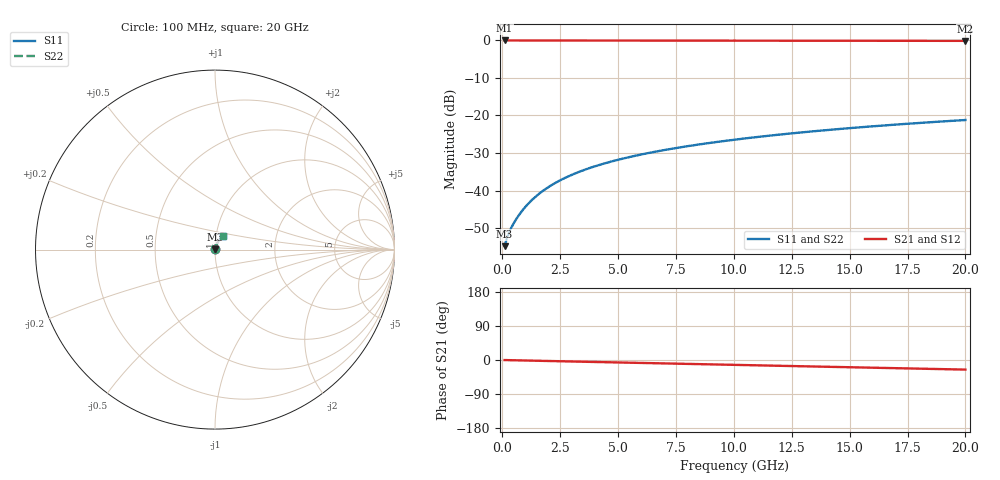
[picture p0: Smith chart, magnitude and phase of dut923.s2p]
! Touchstone file exported from HFSS 2026.1.0
!  File:  C:/ffzhzh/LocalFiles/Ansys_Project_Files/temp_train_BSMRDL_923_1783171771_51560.aedt
!  Generated:  09:30:41 PM Jul  4, 2026
!  Design:  BSMRDL
!  Project:  temp_train_BSMRDL_923_1783171771_51560
! Variables:
!  h_bsmrdl = 4.62um
!  h_ox = 20um
!  h_rdl = 5um
!  h_sub = 80um
!  h_tmrdl = 5um
!  h_tsv = 80um
!  h_via = 3um
!  l_bsmrdl = 432.43um
!  l_sub = 832.43um
!  l_tmrdl = 200um
!  m_sub = 200um
!  pitch = 32.12um
!  r_tsv = 6um
!  s_tmrdl = 10um
!  w_bsmrdl = 23.78um
!  w_sub = 500um
!  w_tmrdl = 12um
!  x_tsv_center1 = 206um
!  x_tsv_center2 = 662.21um
!  x_tsv_center3 = 874.21um
!  x_tsv_center4 = 1330.42um
!  x_tsv_center5 = 1542.42um
!  x_tsv_center6 = 1998.63um
# GHz S MA R 50.000000
! Terminal data exported
! Port[1] = BSM_RDL1_1_T1
! Port[2] = BSM_RDL1_1_T2
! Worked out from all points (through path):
!   200 points, 100 MHz to 20 GHz, reference 50 ohm
!   highest |S21| = -0.01 dB at 100 MHz (marker M1); lowest = -0.1 dB at 20 GHz (marker M2)
!   group delay of S21, straight-line fit = 3.5 ps
!   lowest |S11| = -54.8 dB at 100 MHz (marker M3), VSWR 1.00, Z = 50.2 + j0.0806 ohm
!   |S11| at or under -10 dB: start of sweep to end of sweep
!   |S22| runs from -54.8 to -21.2 dB; largest |S21 - S12| = 2e-15
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0.1  0.001817 26.3  0.9984 -0.1  0.9984 -0.1  0.001817 26.3
! Gamma 0 0 0 0
! Port Impedance 50 0 50 0
0.2  0.002333 38.2  0.9982 -0.3  0.9982 -0.3  0.002332 38.2
0.3  0.00281 44.8  0.998 -0.4  0.998 -0.4  0.002809 44.8
0.4  0.003257 49.7  0.9979 -0.6  0.9979 -0.6  0.003255 49.7
0.5  0.003702 53.8  0.9978 -0.7  0.9978 -0.7  0.0037 53.8
0.7  0.004621 59.9  0.9977 -0.9  0.9977 -0.9  0.00462 59.9
0.9  0.005584 64.1  0.9976 -1.2  0.9976 -1.2  0.005583 64.1
1.1  0.006577 67.0  0.9975 -1.5  0.9975 -1.5  0.006577 67.1
1.3  0.007588 69.1  0.9974 -1.7  0.9974 -1.7  0.007588 69.1
1.7  0.009631 71.6  0.9972 -2.2  0.9972 -2.2  0.009631 71.6
2.2  0.01218 73.1  0.9969 -2.9  0.9969 -2.9  0.01218 73.1
2.8  0.0152 73.7  0.9966 -3.7  0.9966 -3.7  0.0152 73.8
3.5  0.01864 73.8  0.9961 -4.6  0.9961 -4.6  0.01864 73.8
4.2  0.02198 73.5  0.9956 -5.5  0.9956 -5.5  0.02198 73.5
5  0.02571 72.9  0.995 -6.5  0.995 -6.5  0.02571 72.9
5.9  0.02979 72.2  0.9943 -7.7  0.9943 -7.7  0.02979 72.2
6.8  0.03379 71.4  0.9937 -8.8  0.9937 -8.8  0.03378 71.4
8.3  0.04029 70.0  0.9927 -10.7  0.9927 -10.7  0.04029 70.1
10.1  0.0479 68.3  0.9916 -13.0  0.9916 -13.0  0.0479 68.4
13.4  0.06145 65.0  0.9897 -17.1  0.9897 -17.1  0.06145 65.1
16.7  0.07451 61.6  0.9878 -21.2  0.9878 -21.2  0.0745 61.6
20  0.08703 58.0  0.9859 -25.3  0.9859 -25.3  0.08703 58.0
